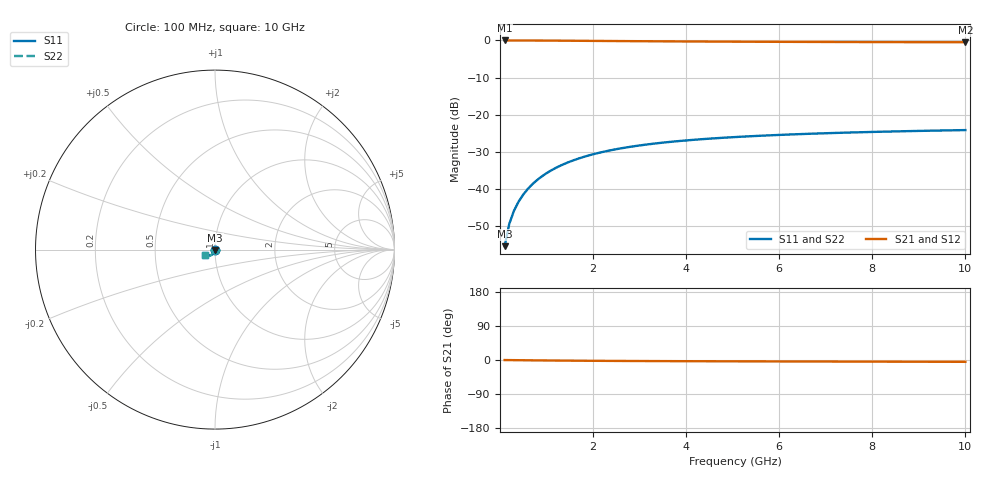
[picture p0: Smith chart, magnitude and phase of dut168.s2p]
! Touchstone file exported from HFSS 2024.1.0
!  File:  C:/UserFiles/LocalFiles/RDL_TSV_Batchsim/temp_TSV1_168_1778755886.aedt
!  Generated:  06:55:16 PM May 14, 2026
!  Design:  TSV1
!  Project:  temp_TSV1_168_1778755886
!  Setup:  Setup1
!  Solution:  Sweep
! Variables:
!  dtsv = 14.6um
!  hbump = 3um
!  htsv = 70.3um
!  lrdl = 252.1521522um
!  p = 40
!  p1 = 44.66um
!  t = 500um
!  trdl = 3um
!  wrdl = 24.89489489um
# GHz S MA R 50.000000
! Terminal data exported
! Port[1] = TSV22_T1
! Port[2] = TSV22_T2
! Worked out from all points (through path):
!   100 points, 100 MHz to 10 GHz, reference 50 ohm
!   highest |S21| = 0.00 dB at 100 MHz (marker M1); lowest = -0.5 dB at 10 GHz (marker M2)
!   lowest |S11| = -55.5 dB at 100 MHz (marker M3), VSWR 1.00, Z = 50 - j0.168 ohm
!   |S11| at or under -10 dB: start of sweep to end of sweep
!   |S22| runs from -55.5 to -24.2 dB; largest |S21 - S12| = 1e-15
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0.1  0.001676 -88.9  0.9999 -0.1  0.9999 -0.1  0.001676 -88.9
! Gamma 0 0 0 0
! Port Impedance 50 0 50 0
0.2  0.003349 -91.9  0.9997 -0.3  0.9997 -0.3  0.003349 -91.9
0.3  0.005019 -94.0  0.9995 -0.4  0.9995 -0.4  0.005019 -94.0
0.4  0.006679 -95.8  0.9992 -0.5  0.9992 -0.5  0.006679 -95.8
0.5  0.008323 -97.4  0.9988 -0.6  0.9988 -0.6  0.008323 -97.4
0.6  0.009947 -99.0  0.9983 -0.8  0.9983 -0.8  0.009947 -99.0
0.7  0.01155 -100.5  0.9977 -0.9  0.9977 -0.9  0.01155 -100.5
0.8  0.01312 -102.1  0.9971 -1.0  0.9971 -1.0  0.01312 -102.1
0.9  0.01466 -103.5  0.9964 -1.1  0.9964 -1.1  0.01466 -103.5
1.1  0.01764 -106.4  0.9948 -1.3  0.9948 -1.3  0.01764 -106.4
1.4  0.02182 -110.4  0.9922 -1.6  0.9922 -1.6  0.02182 -110.4
1.6  0.02441 -112.9  0.9903 -1.8  0.9903 -1.8  0.02441 -112.9
1.8  0.02684 -115.3  0.9883 -2.0  0.9883 -2.0  0.02684 -115.3
2.1  0.03018 -118.6  0.9854 -2.2  0.9854 -2.2  0.03018 -118.6
2.5  0.03412 -122.6  0.9816 -2.4  0.9816 -2.4  0.03412 -122.6
2.9  0.03753 -126.1  0.978 -2.7  0.978 -2.7  0.03753 -126.1
3.4  0.04115 -129.9  0.9738 -2.9  0.9738 -2.9  0.04115 -129.9
4.2  0.04583 -134.8  0.968 -3.2  0.968 -3.2  0.04583 -134.8
5.1  0.04991 -139.2  0.9626 -3.5  0.9626 -3.5  0.04991 -139.2
6.7  0.05519 -144.9  0.9552 -4.0  0.9552 -4.0  0.05519 -144.9
8.4  0.05908 -149.2  0.9496 -4.4  0.9496 -4.4  0.05908 -149.2
10  0.06173 -152.2  0.9458 -4.8  0.9458 -4.8  0.06173 -152.2
